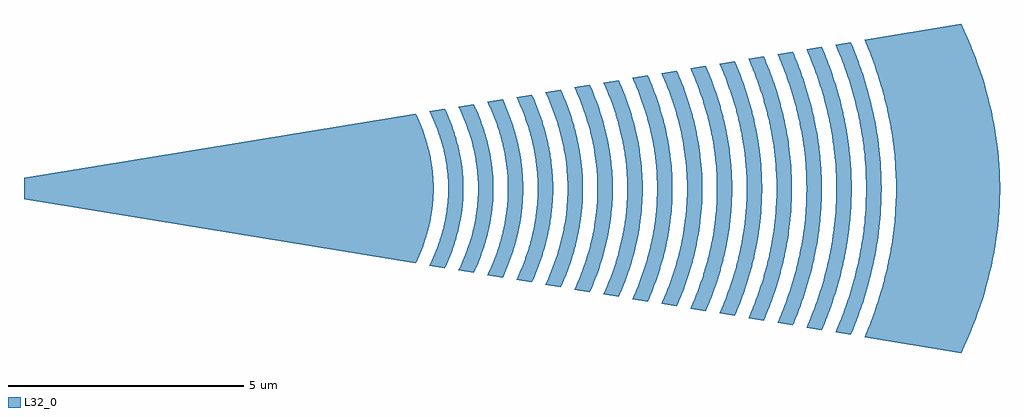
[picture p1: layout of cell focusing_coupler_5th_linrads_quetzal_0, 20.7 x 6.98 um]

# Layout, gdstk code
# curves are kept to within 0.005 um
import gdstk
lib = gdstk.Library(unit=1e-6, precision=1e-09)
def P(c, l, *ps):  # polygons
    for p in ps: c.add(gdstk.Polygon(p, *l))
L32_0 = (32, 0)

focusing_coupler_5th_lin = lib.new_cell('focusing_coupler_5th_linrads_quetzal_0')
P(focusing_coupler_5th_lin, L32_0, [(17.866,-3.058),(17.999,-2.716),(18.14,-2.298),(18.238,-1.956),(18.344,-1.5),(18.411,-1.12),(18.462,-0.703),(18.49,-0.285),(18.495,0.057),(18.48,0.475),(18.446,0.855),(18.399,1.196),(18.32,1.614),(18.238,1.956),(18.104,2.412),(17.985,2.754),(17.826,3.152),(19.879,3.489),(20.067,3.062),(20.179,2.777),(20.327,2.35),(20.411,2.065),(20.518,1.638),(20.575,1.353),(20.641,0.926),(20.671,0.641),(20.69,0.356),(20.698,-0.071),(20.681,-0.498),(20.641,-0.926),(20.6,-1.21),(20.518,-1.638),(20.411,-2.065),(20.327,-2.35),(20.125,-2.919),(19.879,-3.489),(17.826,-3.152)],
  [(17.238,-2.987),(17.356,-2.69),(17.486,-2.319),(17.576,-2.022),(17.671,-1.651),(17.747,-1.28),(17.789,-1.02),(17.825,-0.724),(17.853,-0.353),(17.861,0.093),(17.844,0.501),(17.804,0.909),(17.719,1.429),(17.626,1.837),(17.521,2.208),(17.397,2.579),(17.21,3.051),(17.536,3.104),(17.689,2.716),(17.83,2.298),(17.957,1.842),(18.049,1.424),(18.112,1.045),(18.165,0.551),(18.184,0.133),(18.18,-0.285),(18.165,-0.551),(18.136,-0.855),(18.101,-1.12),(18.049,-1.424),(17.928,-1.956),(17.83,-2.298),(17.743,-2.564),(17.632,-2.868),(17.536,-3.104),(17.21,-3.051)],
  [(16.61,-2.917),(16.727,-2.627),(16.844,-2.301),(16.935,-2.011),(17.031,-1.648),(17.08,-1.431),(17.151,-1.033),(17.196,-0.67),(17.22,-0.344),(17.228,0.091),(17.216,0.417),(17.176,0.851),(17.115,1.25),(17.022,1.685),(16.891,2.156),(16.768,2.518),(16.596,2.95),(16.921,3.003),(17.087,2.579),(17.211,2.208),(17.316,1.837),(17.378,1.577),(17.437,1.28),(17.503,0.835),(17.539,0.427),(17.551,0.093),(17.543,-0.353),(17.522,-0.649),(17.494,-0.909),(17.45,-1.206),(17.394,-1.503),(17.266,-2.022),(17.176,-2.319),(17.087,-2.579),(16.921,-3.003),(16.596,-2.95)],
  [(16.012,-2.775),(16.125,-2.492),(16.23,-2.198),(16.314,-1.927),(16.408,-1.573),(16.476,-1.255),(16.529,-0.937),(16.563,-0.654),(16.585,-0.371),(16.595,0.053),(16.578,0.477),(16.543,0.831),(16.476,1.255),(16.382,1.679),(16.293,1.998),(16.151,2.422),(15.981,2.849),(16.306,2.902),(16.484,2.446),(16.625,2.011),(16.721,1.648),(16.805,1.25),(16.866,0.851),(16.906,0.417),(16.918,0.091),(16.91,-0.344),(16.866,-0.851),(16.83,-1.105),(16.77,-1.431),(16.712,-1.685),(16.625,-2.011),(16.458,-2.518),(16.306,-2.902),(15.981,-2.849)],
  [(15.383,-2.707),(15.495,-2.431),(15.607,-2.12),(15.713,-1.776),(15.776,-1.534),(15.85,-1.19),(15.896,-0.914),(15.933,-0.603),(15.955,-0.293),(15.961,0.086),(15.947,0.431),(15.91,0.81),(15.85,1.19),(15.759,1.603),(15.662,1.948),(15.534,2.327),(15.365,2.748),(15.691,2.801),(15.867,2.351),(15.983,1.998),(16.072,1.679),(16.166,1.255),(16.233,0.831),(16.268,0.477),(16.285,0.053),(16.275,-0.371),(16.253,-0.654),(16.219,-0.937),(16.13,-1.432),(16.063,-1.715),(15.994,-1.962),(15.892,-2.28),(15.788,-2.563),(15.691,-2.801),(15.365,-2.748)],
  [(14.754,-2.638),(14.852,-2.403),(14.976,-2.067),(15.081,-1.731),(15.152,-1.462),(15.247,-0.991),(15.289,-0.689),(15.318,-0.353),(15.328,0.05),(15.316,0.386),(15.281,0.756),(15.217,1.159),(15.118,1.596),(15.02,1.932),(14.891,2.302),(14.75,2.647),(15.076,2.7),(15.224,2.327),(15.352,1.948),(15.449,1.603),(15.54,1.19),(15.6,0.81),(15.637,0.431),(15.651,0.086),(15.65,-0.155),(15.637,-0.431),(15.586,-0.914),(15.54,-1.19),(15.466,-1.534),(15.403,-1.776),(15.297,-2.12),(15.131,-2.569),(15.076,-2.7),(14.75,-2.647)],
  [(14.14,-2.536),(14.274,-2.209),(14.357,-1.98),(14.504,-1.489),(14.579,-1.162),(14.615,-0.965),(14.653,-0.704),(14.681,-0.409),(14.695,-0.082),(14.689,0.278),(14.653,0.704),(14.598,1.064),(14.504,1.489),(14.4,1.849),(14.274,2.209),(14.135,2.546),(14.46,2.599),(14.606,2.235),(14.731,1.865),(14.842,1.462),(14.907,1.159),(14.971,0.756),(15.006,0.386),(15.018,0.05),(15.006,-0.386),(14.979,-0.689),(14.937,-0.991),(14.85,-1.428),(14.79,-1.663),(14.71,-1.932),(14.542,-2.403),(14.46,-2.599),(14.135,-2.546)],
  [(13.524,-2.437),(13.703,-1.991),(13.799,-1.704),(13.872,-1.449),(13.933,-1.194),(13.982,-0.94),(14.027,-0.621),(14.048,-0.398),(14.062,-0.048),(14.054,0.303),(14.027,0.621),(13.971,1.003),(13.888,1.386),(13.779,1.768),(13.643,2.15),(13.52,2.445),(13.846,2.499),(13.964,2.209),(14.09,1.849),(14.194,1.489),(14.288,1.064),(14.343,0.704),(14.379,0.278),(14.385,-0.082),(14.371,-0.409),(14.343,-0.704),(14.305,-0.965),(14.21,-1.424),(14.159,-1.62),(14.069,-1.915),(13.964,-2.209),(13.872,-2.438),(13.846,-2.499),(13.52,-2.445)],
  [(12.92,-2.308),(13.011,-2.091),(13.115,-1.812),(13.195,-1.564),(13.263,-1.316),(13.354,-0.883),(13.39,-0.635),(13.414,-0.387),(13.428,-0.046),(13.42,0.294),(13.39,0.635),(13.343,0.945),(13.263,1.316),(13.176,1.626),(13.059,1.967),(12.904,2.344),(13.231,2.397),(13.393,1.991),(13.489,1.704),(13.594,1.322),(13.661,1.003),(13.717,0.621),(13.744,0.303),(13.752,-0.048),(13.738,-0.398),(13.697,-0.78),(13.649,-1.067),(13.594,-1.322),(13.469,-1.768),(13.393,-1.991),(13.255,-2.341),(13.231,-2.397),(12.904,-2.344)],
  [(12.289,-2.242),(12.368,-2.062),(12.484,-1.761),(12.554,-1.55),(12.639,-1.249),(12.732,-0.798),(12.784,-0.346),(12.796,-0.015),(12.786,0.316),(12.754,0.647),(12.711,0.918),(12.639,1.249),(12.535,1.61),(12.428,1.911),(12.289,2.242),(12.615,2.296),(12.749,1.967),(12.866,1.626),(12.953,1.316),(13.033,0.945),(13.08,0.635),(13.11,0.294),(13.118,-0.046),(13.104,-0.387),(13.08,-0.635),(13.044,-0.883),(12.953,-1.316),(12.885,-1.564),(12.805,-1.812),(12.637,-2.246),(12.615,-2.296)],
  [(11.697,-2.089),(11.784,-1.885),(11.872,-1.651),(12.006,-1.213),(12.093,-0.804),(12.146,-0.395),(12.162,-0.073),(12.156,0.248),(12.128,0.57),(12.078,0.891),(12.006,1.213),(11.921,1.505),(11.807,1.826),(11.674,2.142),(12,2.195),(12.141,1.851),(12.244,1.55),(12.329,1.249),(12.401,0.918),(12.444,0.647),(12.476,0.316),(12.486,-0.015),(12.474,-0.346),(12.422,-0.798),(12.329,-1.249),(12.195,-1.701),(12.118,-1.911),(12,-2.195),(11.674,-2.142)],
  [(11.064,-2.027),(11.163,-1.8),(11.279,-1.488),(11.365,-1.205),(11.415,-1.006),(11.475,-0.695),(11.513,-0.383),(11.529,-0.071),(11.529,0.071),(11.513,0.383),(11.495,0.553),(11.445,0.865),(11.415,1.006),(11.341,1.29),(11.269,1.517),(11.163,1.8),(11.058,2.041),(11.385,2.094),(11.497,1.826),(11.611,1.505),(11.696,1.213),(11.768,0.891),(11.818,0.57),(11.846,0.248),(11.852,-0.073),(11.836,-0.395),(11.783,-0.804),(11.696,-1.213),(11.562,-1.651),(11.474,-1.885),(11.385,-2.094),(11.058,-2.041)],
  [(10.443,-1.937),(10.563,-1.662),(10.664,-1.387),(10.739,-1.14),(10.794,-0.92),(10.865,-0.508),(10.891,-0.206),(10.896,0.014),(10.886,0.288),(10.865,0.508),(10.794,0.92),(10.739,1.14),(10.664,1.387),(10.563,1.662),(10.442,1.94),(10.769,1.993),(10.853,1.8),(10.969,1.488),(11.063,1.176),(11.135,0.865),(11.185,0.553),(11.213,0.241),(11.219,-0.071),(11.203,-0.383),(11.165,-0.695),(11.135,-0.865),(11.063,-1.176),(10.919,-1.63),(10.769,-1.993)],
  [(9.835,-1.822),(9.951,-1.556),(10.031,-1.343),(10.099,-1.13),(10.155,-0.918),(10.209,-0.652),(10.242,-0.412),(10.26,-0.173),(10.263,0.066),(10.257,0.226),(10.229,0.519),(10.179,0.811),(10.142,0.971),(10.091,1.157),(10.012,1.396),(9.918,1.636),(9.827,1.839),(10.154,1.892),(10.285,1.58),(10.372,1.332),(10.458,1.03),(10.522,0.728),(10.555,0.508),(10.581,0.206),(10.585,-0.096),(10.567,-0.398),(10.512,-0.783),(10.429,-1.14),(10.363,-1.36),(10.285,-1.58),(10.154,-1.892),(9.827,-1.839)],
  [(9.212,-1.736),(9.316,-1.505),(9.387,-1.325),(9.48,-1.042),(9.527,-0.862),(9.58,-0.604),(9.614,-0.347),(9.628,-0.141),(9.63,0.064),(9.624,0.219),(9.599,0.476),(9.571,0.656),(9.515,0.913),(9.387,1.325),(9.316,1.505),(9.211,1.737),(9.539,1.791),(9.652,1.529),(9.756,1.237),(9.845,0.918),(9.899,0.652),(9.932,0.412),(9.952,0.12),(9.952,-0.12),(9.937,-0.359),(9.899,-0.652),(9.863,-0.838),(9.804,-1.077),(9.692,-1.423),(9.539,-1.791)],
  [(8.611,-1.602),(8.722,-1.354),(8.797,-1.155),(8.867,-0.932),(8.911,-0.758),(8.946,-0.584),(8.978,-0.36),(8.992,-0.186),(8.997,0.062),(8.989,0.236),(8.969,0.435),(8.937,0.634),(8.887,0.857),(8.83,1.056),(8.761,1.255),(8.595,1.636),(8.924,1.69),(9.017,1.479),(9.122,1.196),(9.205,0.913),(9.261,0.656),(9.304,0.347),(9.318,0.141),(9.318,-0.141),(9.304,-0.347),(9.261,-0.656),(9.17,-1.042),(9.077,-1.325),(8.924,-1.69),(8.595,-1.636)],
  [(0,0.225),(8.307,1.589),(8.412,1.354),(8.487,1.155),(8.557,0.932),(8.601,0.758),(8.636,0.584),(8.668,0.36),(8.682,0.186),(8.687,-0.062),(8.679,-0.236),(8.659,-0.435),(8.627,-0.634),(8.577,-0.857),(8.52,-1.056),(8.451,-1.255),(8.307,-1.589),(0,-0.225)])

lib.write_gds('focusing_coupler_5th_linrads_quetzal_0.gds')
